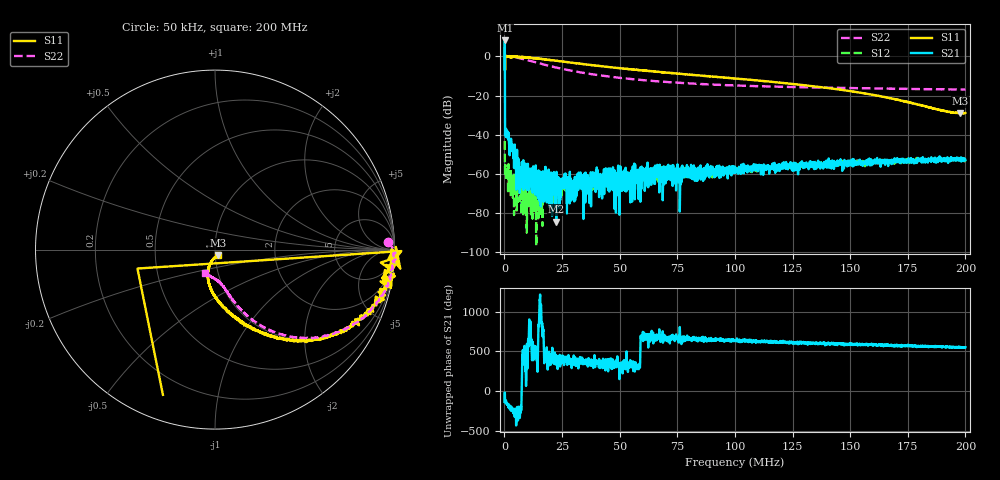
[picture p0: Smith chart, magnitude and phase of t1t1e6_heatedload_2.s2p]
! 27-Aug-26 2:35:54 PM
! E:\20260827_VNA\T1T1E6_HEATEDLOAD_2.S2P
! CHANNEL.1
! TR.MEASUREMENT
! CORRECTED.DATA
# GHZ S RI R 50.0
! FREQ.GHZ  S11RE  S11IM  S21RE  S21IM  S12RE  S12IM  S22RE  S22IM
!; PortSelection: Port_12
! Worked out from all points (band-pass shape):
!   2000 points, 50 kHz to 200 MHz, reference 50 ohm
!   highest |S21| = 8.17 dB at 150 kHz (marker M1); lowest = -84.5 dB at 22.46 MHz (marker M2)
!   |S21| within 3 dB of the highest: 129.6 kHz to 156.2 kHz (26.59 kHz wide, 18.6 % of centre)
!   lowest |S11| = -29.2 dB at 197.7 MHz (marker M3), VSWR 1.07, Z = 51.4 - j3.24 ohm
!   |S11| at or under -10 dB: 86.36822 MHz to 86.37392 MHz (5.696 kHz wide, 0.0066 % of centre); 86.93936 MHz to 87.0685 MHz (129.1 kHz wide, 0.148 % of centre); 87.23 MHz to end of sweep
!   |S22| runs from -17.0 to 0.1 dB; largest |S21 - S12| = 2.6
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5e-05  1.273 1.076  -0.3102 -0.3533  -0.00679 0.000818  0.9613 0.0439
0.000150025  -0.2902 -0.8093  2.495 -0.5759  -0.00169 0.00123  1.003 -0.00608
0.001150275  0.9864 -0.0728  -0.00934 -0.00184  -0.00126 0.000859  0.9836 -0.0788
0.0012503  0.9912 -0.00318  -0.00764 -0.00454  -0.000627 0.000846  0.9897 -0.0936
0.003550875  0.947 -0.1141  -0.00145 0.00516  -0.000594 -0.000188  0.9352 -0.2502
0.006051501  0.945 -0.205  -0.000992 0.0022  -0.000332 -0.000122  0.8381 -0.3708
0.0104526  0.8739 -0.3269  -0.00091 -0.000345  8.6e-05 0.000199  0.6277 -0.4762
0.01175293  0.8357 -0.3564  -0.000917 0.000144  -0.000219 3.84e-05  0.5748 -0.4887
0.0140535  0.8022 -0.4217  0.000806 0.000272  -0.000129 0.00027  0.4882 -0.4909
0.0224556  0.5922 -0.5012  5.98e-05 1.7e-06  0.000343 0.000143  0.2806 -0.4368
0.03345835  0.4033 -0.5027  0.000266 0.000546  0.000513 0.000154  0.1616 -0.3517
0.03975993  0.3183 -0.4828  0.00102 0.00065  0.000599 -0.000229  0.1259 -0.314
0.04916228  0.2297 -0.4492  0.000695 -0.000451  0.000527 -0.000183  0.0925 -0.2721
0.05096273  0.2161 -0.4446  -4.47e-05 -0.00036  0.000534 -0.000331  0.0886 -0.265
0.05446361  0.1904 -0.4303  0.000435 -6.27e-05  0.000561 -0.000479  0.0805 -0.2539
0.05666416  0.173 -0.4228  0.00137 -0.00105  0.000656 -0.000512  0.075 -0.2469
0.06676668  0.1221 -0.385  0.000814 -0.000464  0.00053 -0.000317  0.0587 -0.2228
0.100075  0.00792 -0.2746  0.000293 -0.00127  0.000277 -0.00113  0.0226 -0.1799
0.1333833  -0.038 -0.17  -0.000868 -0.00125  -0.000529 -0.00149  -0.00391 -0.1614
0.1666917  -0.0292 -0.0827  -0.0017 -0.00097  -0.00165 -0.00122  -0.0293 -0.1476
0.1976994  0.015 -0.0315  -0.00246 -0.000311  -0.00244 -0.000377  -0.0543 -0.1311
0.2  0.0192 -0.0302  -0.00216 -0.000536  -0.00234 -0.000309  -0.0553 -0.1304
